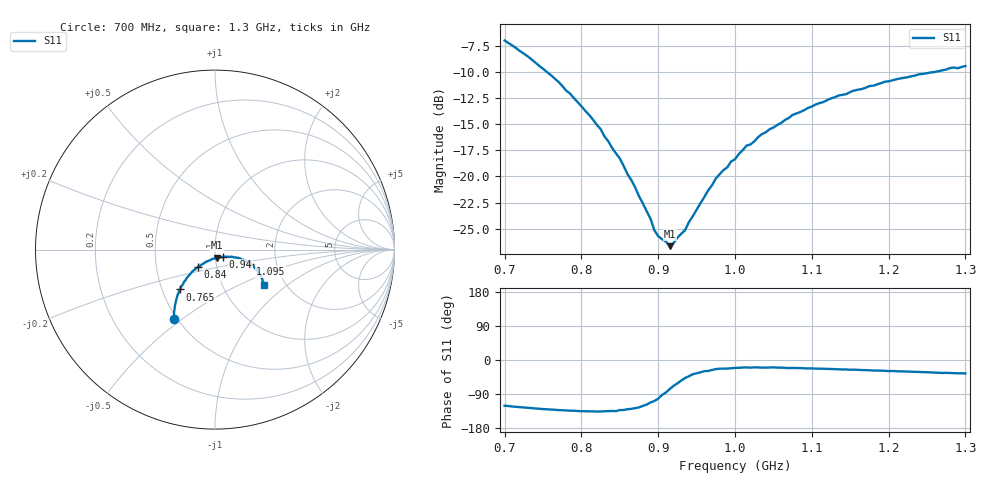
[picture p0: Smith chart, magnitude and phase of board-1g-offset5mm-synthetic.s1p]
! QA synthetic: 5 mm plane offset eeff 3.3
# GHZ S RI R 50
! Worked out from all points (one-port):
!   121 points, 700 MHz to 1.3 GHz, reference 50 ohm
!   lowest |S11| = -26.7 dB at 915 MHz (marker M1), VSWR 1.10, Z = 50.9 - j4.6 ohm
!   |S11| at or under -10 dB: 755 MHz to 1.26 GHz (505.3 MHz wide, 50.1 % of centre)
!   S11 on the Smith chart (normalised r, x): 700 MHz: 0.48, -0.46; 765 MHz: 0.62, -0.30; 840 MHz: 0.81, -0.16; 940 MHz: 1.09, -0.09; 1.095 GHz: 1.47, -0.25; 1.3 GHz: 1.57, -0.69
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0.7  -0.2288 -0.3843
0.725  -0.2239 -0.3157
0.765  -0.194 -0.2218
0.775  -0.1832 -0.2
0.81  -0.1406 -0.1383
0.825  -0.121 -0.1175
0.84  -0.096 -0.0976
0.85  -0.0819 -0.0904
0.89  -0.0235 -0.0582
0.895  -0.0172 -0.0525
0.9  -0.0109 -0.0506
0.915  0.0107 -0.0451
0.925  0.0241 -0.0448
0.935  0.0374 -0.0407
0.94  0.0443 -0.0412
0.975  0.0893 -0.0398
0.99  0.1021 -0.0425
0.995  0.1096 -0.0437
1  0.1129 -0.0432
1.015  0.1323 -0.047
1.02  0.1333 -0.0492
1.035  0.1496 -0.055
1.075  0.184 -0.0703
1.095  0.1968 -0.0806
1.15  0.2283 -0.11
1.195  0.2496 -0.1352
1.225  0.257 -0.1519
1.3  0.2747 -0.196
